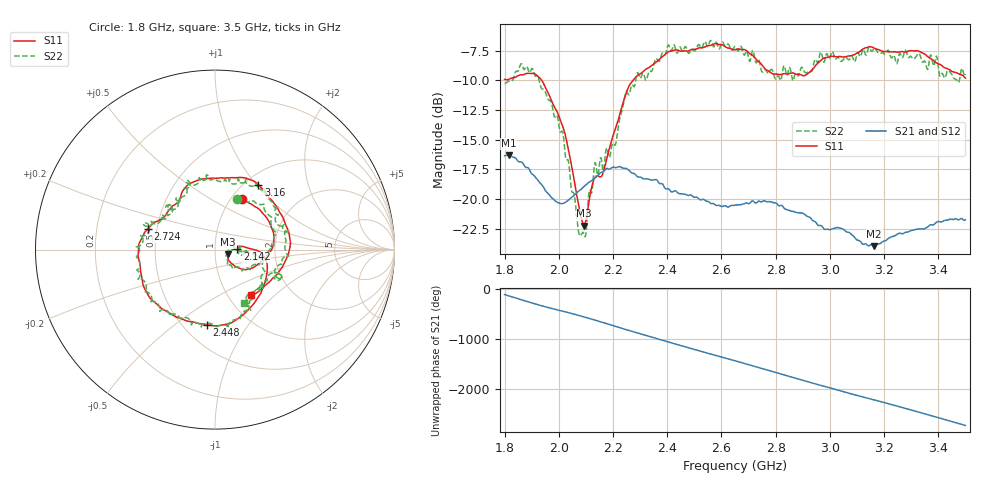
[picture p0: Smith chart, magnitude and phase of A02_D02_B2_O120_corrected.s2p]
! Created with skrf 1.9.0 (http://scikit-rf.org).
# Hz S RI R 50.0
!freq ReS11 ImS11 ReS21 ImS21 ReS12 ImS12 ReS22 ImS22
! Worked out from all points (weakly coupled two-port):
!   1601 points, 1.8 GHz to 3.5 GHz, reference 50 ohm
!   highest |S21| = -16.30 dB at 1.816 GHz (marker M1); lowest = -24.0 dB at 3.163 GHz (marker M2)
!   lowest |S11| = -22.2 dB at 2.093 GHz (marker M3), VSWR 1.17, Z = 57.8 - j2.97 ohm
!   |S11| at or under -10 dB: 1.937 GHz to 2.273 GHz (335.8 MHz wide, 16 % of centre)
!   |S22| runs from -23.2 to -6.6 dB; largest |S21 - S12| = 0.0024
!   S11 on the Smith chart (normalised r, x): 1.8 GHz: 1.12, +0.70; 2.142 GHz: 1.29, +0.01; 2.448 GHz: 0.65, -0.66; 2.724 GHz: 0.44, +0.12; 3.16 GHz: 1.15, +1.03; 3.5 GHz: 1.27, -0.72
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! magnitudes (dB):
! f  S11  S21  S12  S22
! 1.8 GHz  -9.9  -16.3  -16.3  -10.2
! 1.816 GHz  -9.9  -16.3  -16.3  -10.0
! 1.902 GHz  -9.4  -17.9  -17.9  -9.0
! 1.969 GHz  -11.5  -19.8  -19.8  -11.7
! 2.023 GHz  -14.5  -20.3  -20.3  -16.1
! 2.084 GHz  -21.7  -19.2  -19.1  -22.9
! 2.093 GHz  -22.2  -18.9  -19.0  -22.9
! 2.13 GHz  -18.3  -18.3  -18.3  -17.3
! 2.142 GHz  -18.0  -18.1  -18.0  -17.9
! 2.163 GHz  -17.8  -17.7  -17.6  -17.6
! 2.208 GHz  -14.1  -17.3  -17.3  -15.4
! 2.26 GHz  -10.4  -17.6  -17.6  -11.2
! 2.367 GHz  -8.3  -18.6  -18.5  -8.4
! 2.448 GHz  -7.5  -19.6  -19.5  -7.2
! 2.65 GHz  -7.4  -20.5  -20.5  -7.1
! 2.724 GHz  -8.1  -20.3  -20.3  -8.3
! 2.812 GHz  -9.5  -20.5  -20.4  -9.7
! 2.934 GHz  -9.1  -21.7  -21.7  -9.2
! 3.16 GHz  -7.2  -23.9  -23.9  -7.4
! 3.163 GHz  -7.3  -24.0  -23.9  -7.3
! 3.217 GHz  -7.6  -23.3  -23.3  -7.5
! 3.5 GHz  -9.8  -21.8  -21.7  -9.5
